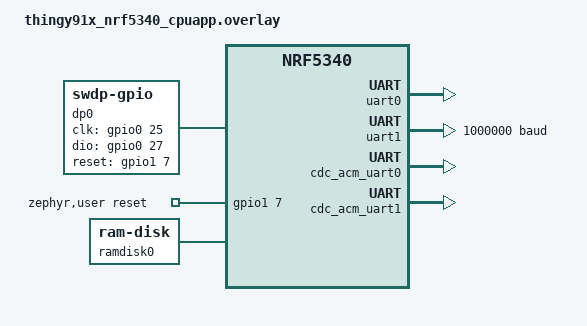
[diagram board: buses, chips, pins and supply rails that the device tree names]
/*
 * Copyright (c) 2023 Nordic Semiconductor ASA
 *
 * SPDX-License-Identifier: LicenseRef-Nordic-5-Clause
 */


/ {
	dp0 {
		compatible = "zephyr,swdp-gpio";
		status = "okay";
		clk-gpios = <&gpio0 25 GPIO_ACTIVE_HIGH>;
		dio-gpios = <&gpio0 27 GPIO_ACTIVE_HIGH>;
		reset-gpios = <&gpio1 7 GPIO_ACTIVE_HIGH>;
		port-write-cycles = <12>;
	};

	zephyr,user {
		reset-gpios = <&gpio1 7 GPIO_ACTIVE_HIGH>;
	};

	chosen {
		zephyr,console = &rtt0;
		zephyr,shell-uart = &rtt0;
		zephyr,uart-mcumgr = &rtt0;
		zephyr,bt-mon-uart = &rtt0;
		zephyr,bt-c2h-uart = &rtt0;
	};

	ramdisk0 {
		compatible = "zephyr,ram-disk";
		disk-name = "RAM";
		sector-size = <512>;
		sector-count = <128>;
	};
};

&uart0 {
	status = "okay";
};

&uart1 {
	status = "okay";
	/* GoSteady M6b: nRF9151's uart1 runs at 1 Mbaud (see the nRF9151
	 * board DTS). USB CDC reconfigures the baud dynamically via
	 * SET_LINE_CODING, but BLE peer events pass baudrate=0 ("keep the
	 * current/default"). Default this to 1 Mbaud so the BLE path has
	 * matching baud without a special case. */
	current-speed = <1000000>;
};


&zephyr_udc0 {
	cdc_acm_uart0: cdc_acm_uart0 {
		compatible = "zephyr,cdc-acm-uart";
	};

	cdc_acm_uart1: cdc_acm_uart1 {
		compatible = "zephyr,cdc-acm-uart";
	};
};
